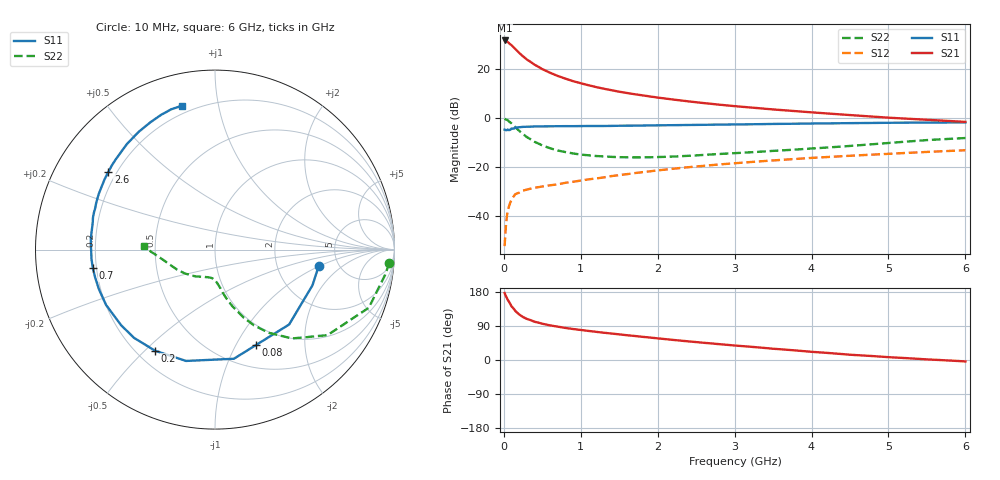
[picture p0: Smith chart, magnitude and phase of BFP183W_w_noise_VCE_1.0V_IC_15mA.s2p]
! Infineon Technologies  Discrete & RF Semiconductors
! BFP183W
! VCE =  1.0 V,  IC =  15 mA
! Common Emitter S-Parameters:  Jan 2017
# GHz  S  MA  R  50
!  f  S11  S21  S12  S22
! GHz  MAG  ANG  MAG  ANG  MAG  ANG  MAG  ANG
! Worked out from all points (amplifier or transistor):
!   77 points, 10 MHz to 6 GHz, reference 50 ohm
!   highest |S21| = 31.9 dB at 10 MHz (marker M1)
!   |S21| within 3 dB of that: start of sweep to 132.9 MHz
!   unconditionally stable (mu >= 1): 1.147 GHz to 4.624 GHz
!   at 130 MHz: K = 0.21, MSG = 30.5 dB, |S12| = -31.9 dB
!   at 2.2 GHz: K = 1.10, MAG = 12.2 dB, |S12| = -20.7 dB
!   at 6 GHz: K = 0.93, MSG = 5.8 dB, |S12| = -13.1 dB
!   lowest NFmin = 1.05 dB at 450 MHz
!   S11 on the Smith chart (normalised r, x): 10 MHz: 3.53, -0.97; 80 MHz: 0.76, -1.21; 200 MHz: 0.27, -0.54; 700 MHz: 0.19, -0.07; 2.6 GHz: 0.17, +0.32; 6 GHz: 0.16, +0.78
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0.01  0.5851 -8.9  39.3 176.6  0.0024 86.4  0.9748 -4.3
0.02  0.5784 -20.1  38.93 171.4  0.0044 87.1  0.958 -8.5
0.05  0.5871 -45.3  36.7 159.0  0.0127 72.0  0.9163 -20.7
0.08  0.5787 -66.8  33.17 149.2  0.018 63.8  0.83 -30.1
0.1  0.6172 -80.2  31.45 141.6  0.0216 60.6  0.7869 -37.3
0.15  0.641 -104.6  26.16 129.2  0.028 49.7  0.655 -49.1
0.2  0.655 -120.7  21.82 120.1  0.03 44.9  0.5523 -57.1
0.25  0.6674 -132.6  18.53 113.3  0.033 40.9  0.473 -62.9
0.3  0.6716 -141.2  15.98 108.3  0.0346 39.2  0.4116 -67.1
0.4  0.6808 -153.1  12.5 100.9  0.0378 38.5  0.3295 -73.0
0.5  0.6833 -161.0  10.17 95.7  0.04 39.3  0.2783 -76.9
0.6  0.6856 -166.9  8.57 91.4  0.0424 39.4  0.2437 -79.8
0.7  0.6883 -171.5  7.376 88.0  0.0443 41.7  0.2189 -81.8
0.9  0.6898 -179.3  5.767 81.8  0.0501 45.3  0.1904 -85.7
1.1  0.6949 174.8  4.755 76.8  0.0561 47.5  0.1746 -88.9
1.5  0.7031 165.2  3.505 67.6  0.0684 50.3  0.1598 -96.4
2.1  0.7198 152.8  2.538 55.1  0.089 51.9  0.1623 -109.9
2.6  0.735 144.0  2.049 45.4  0.1062 51.0  0.1776 -122.3
3.1  0.7503 136.0  1.719 36.7  0.1232 49.4  0.1968 -133.8
4.1  0.7838 121.7  1.29 20.2  0.1574 44.5  0.2457 -155.1
5.1  0.8103 110.9  1.009 6.4  0.1904 38.9  0.3206 -173.5
6  0.8227 102.9  0.844 -3.8  0.2216 33.0  0.3941 177.4
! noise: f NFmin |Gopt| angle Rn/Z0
0.45  1.05  0.15  158  0.1
0.9  1.09  0.21  163  0.09
1.9  1.56  0.39  -168  0.08
2.4  1.8  0.44  -161  0.11
